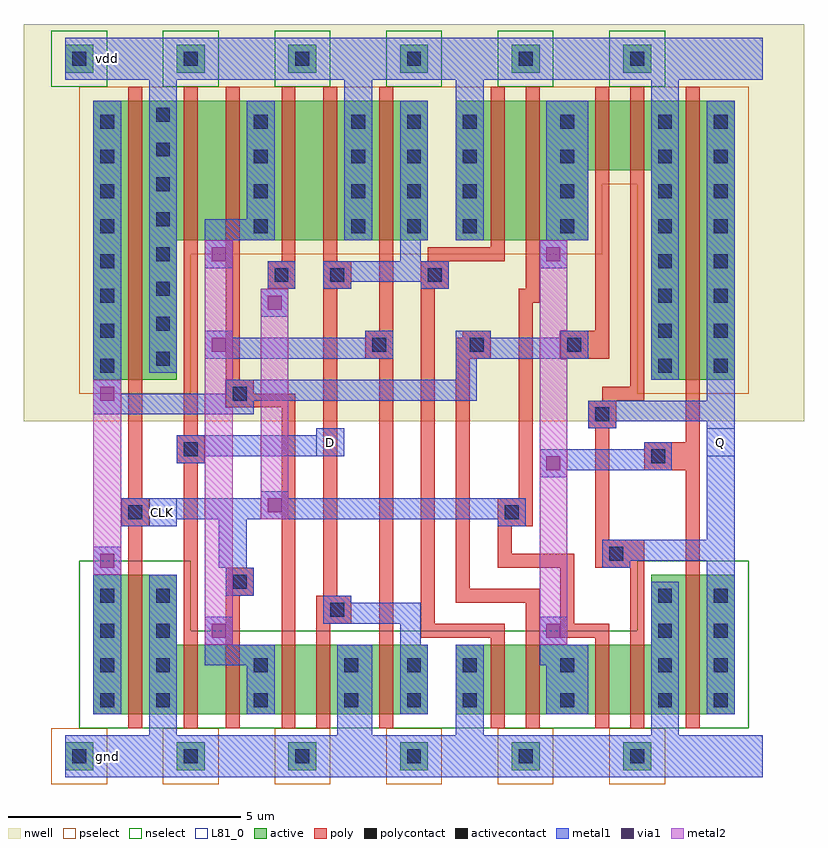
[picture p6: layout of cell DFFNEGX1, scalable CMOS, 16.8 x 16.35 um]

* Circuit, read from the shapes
.subckt DFFNEGX1 CLK D Q gnd vdd
M1 gnd CLK n1 gnd nfet w=3u l=0.3u
M2 n2 D gnd gnd nfet w=1.5u l=0.3u
M3 n3 CLK n2 gnd nfet w=1.5u l=0.3u
M4 n4 n1 n3 gnd nfet w=1.5u l=0.3u
M5 gnd n5 n4 gnd nfet w=1.5u l=0.3u
M6 n5 n3 gnd gnd nfet w=1.5u l=0.3u
M7 n6 n5 gnd gnd nfet w=1.5u l=0.3u
M8 n7 n1 n6 gnd nfet w=1.5u l=0.3u
M9 n8 CLK n7 gnd nfet w=1.5u l=0.3u
M10 gnd Q n8 gnd nfet w=1.5u l=0.3u
M11 Q n7 gnd gnd nfet w=3u l=0.3u
M12 vdd CLK n1 vdd pfet w=6u l=0.3u
M13 n9 D vdd vdd pfet w=3u l=0.3u
M14 n3 n1 n9 vdd pfet w=3u l=0.3u
M15 n10 CLK n3 vdd pfet w=3u l=0.3u
M16 vdd n5 n10 vdd pfet w=3u l=0.3u
M17 n5 n3 vdd vdd pfet w=3u l=0.3u
M18 n11 n5 vdd vdd pfet w=3u l=0.3u
M19 n7 CLK n11 vdd pfet w=3u l=0.3u
M20 n12 n1 n7 vdd pfet w=1.5u l=0.3u
M21 vdd Q n12 vdd pfet w=1.5u l=0.3u
M22 Q n7 vdd vdd pfet w=6u l=0.3u
.ends

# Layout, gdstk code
import gdstk
lib = gdstk.Library(unit=1e-6, precision=1e-09)
def R(c, l, rs):  # rectangles x0, y0, x1, y1
    for r in rs: c.add(gdstk.rectangle(r[:2], r[2:], *l))
def A(c, l, x, y, w, h, nx, ny, dx, dy):  # array of equal rectangles
    R(c, l, [(x+i*dx, y+j*dy, x+i*dx+w, y+j*dy+h) for i in range(nx) for j in range(ny)])
nwell = (42, 0)
active = (43, 0)
pselect = (44, 0)
nselect = (45, 0)
poly = (46, 0)
polycontact = (47, 0)
activecontact = (48, 0)
metal1 = (49, 0)
via1 = (50, 0)
metal2 = (51, 0)
L81_0 = (81, 0)

dffnegx1 = lib.new_cell('DFFNEGX1')
R(dffnegx1, nwell, [(-1.2,7.2,15.6,15.75)])
A(dffnegx1, active, -0.3, -0.3, 0.6, 0.6, 6, 2, 2.4, 15)
R(dffnegx1, active, [(0.3,0.9,7.5,2.4), (8.1,0.9,14.1,2.4), (0.3,2.4,2.1,3.9), (12.3,2.4,14.1,3.9), (0.3,8.1,2.1,11.1), (12.3,8.1,14.1,12.6), (0.3,11.1,7.5,14.1), (8.1,11.1,10.95,12.6), (8.1,12.6,14.1,14.1)])
A(dffnegx1, pselect, -0.6, -0.6, 1.2, 1.2, 6, 1, 2.4, 0)
R(dffnegx1, pselect, [(0,7.8,2.4,10.8), (12,7.8,14.4,12.3), (0,10.8,11.25,12.3), (0,12.3,14.4,14.4)])
A(dffnegx1, nselect, -0.6, 14.4, 1.2, 1.2, 6, 1, 2.4, 0)
R(dffnegx1, nselect, [(0,0.6,14.4,2.7), (0,2.7,2.4,4.2), (12,2.7,14.4,4.2)])
R(dffnegx1, poly, [(1.05,0.6,1.35,4.95), (2.25,0.6,2.55,6.3), (3.15,0.6,3.45,3.45), (4.35,0.6,4.65,7.5), (5.1,0.6,5.4,2.85), (6.45,0.6,6.75,8.55), (8.85,0.6,9.15,2.55), (9.6,0.6,9.9,3.3), (11.1,0.6,11.4,2.55), (11.85,0.6,12.15,4.05), (13.05,0.6,13.35,6.15), (7.35,2.55,9.15,2.85), (10.35,2.55,11.4,2.85), (5.1,2.85,5.85,3.45), (7.35,2.85,7.65,10.05), (10.35,2.85,10.65,4.05), (8.1,3.3,9.9,3.6), (3.15,3.45,3.75,4.05), (5.25,3.45,5.55,10.05), (8.1,3.6,8.4,8.55), (9,4.05,10.65,4.35), (11.1,4.05,12.15,4.65), (9,4.35,9.3,4.95), (11.1,4.65,11.4,7.05), (0.9,4.95,1.5,5.55), (9,4.95,9.75,5.55), (1.05,5.55,1.35,14.4), (9.45,5.55,9.75,9.75), (12.15,6.15,13.35,6.75), (2.1,6.3,2.7,6.9), (13.05,6.75,13.35,14.4), (2.25,6.9,2.55,14.4), (10.95,7.05,11.55,7.65), (3.15,7.5,4.65,7.8), (11.25,7.65,12.15,7.95), (3.15,7.8,3.75,8.1), (11.85,7.95,12.15,14.4), (3.15,8.1,3.45,14.4), (6.15,8.55,6.75,9.15), (8.1,8.55,8.85,9), (10.35,8.55,11.4,9.15), (8.25,9,8.85,9.15), (6.45,9.15,6.75,14.4), (11.1,9.15,11.4,14.4), (9.45,9.75,9.9,10.05), (4.05,10.05,4.65,10.65), (5.25,10.05,5.85,10.65), (7.35,10.05,7.95,10.65), (9.6,10.05,9.9,14.4), (4.35,10.65,4.65,14.4), (5.25,10.65,5.55,14.4), (7.5,10.65,9.15,10.95), (8.85,10.95,9.15,14.4)])
A(dffnegx1, polycontact, 6.3, 8.7, 0.3, 0.3, 3, 1, 2.1, 0)
R(dffnegx1, polycontact, [(5.4,3,5.7,3.3), (3.3,3.6,3.6,3.9), (11.4,4.2,11.7,4.5), (1.05,5.1,1.35,5.4), (9.15,5.1,9.45,5.4), (12.3,6.3,12.6,6.6), (2.25,6.45,2.55,6.75), (11.1,7.2,11.4,7.5), (3.3,7.65,3.6,7.95), (4.2,10.2,4.5,10.5), (5.4,10.2,5.7,10.5), (7.5,10.2,7.8,10.5)])
A(dffnegx1, activecontact, -0.15, -0.15, 0.3, 0.3, 6, 2, 2.4, 15)
A(dffnegx1, activecontact, 0.45, 1.05, 0.3, 0.3, 1, 4, 0, 0.75)
A(dffnegx1, activecontact, 1.65, 1.05, 0.3, 0.3, 1, 4, 0, 0.75)
A(dffnegx1, activecontact, 8.25, 1.05, 0.3, 0.3, 3, 2, 2.1, 0.75)
A(dffnegx1, activecontact, 13.65, 1.05, 0.3, 0.3, 1, 4, 0, 0.75)
A(dffnegx1, activecontact, 0.45, 8.25, 0.3, 0.3, 1, 8, 0, 0.75)
A(dffnegx1, activecontact, 12.45, 8.25, 0.3, 0.3, 1, 8, 0, 0.75)
A(dffnegx1, activecontact, 13.65, 8.25, 0.3, 0.3, 1, 8, 0, 0.75)
A(dffnegx1, activecontact, 1.65, 8.4, 0.3, 0.3, 1, 8, 0, 0.75)
A(dffnegx1, activecontact, 3.75, 11.25, 0.3, 0.3, 1, 4, 0, 0.75)
A(dffnegx1, activecontact, 5.85, 11.25, 0.3, 0.3, 3, 4, 1.2, 0.75)
A(dffnegx1, activecontact, 10.35, 11.25, 0.3, 0.3, 1, 4, 0, 0.75)
R(dffnegx1, activecontact, [(3.75,1.05,4.05,1.35), (5.7,1.05,6,1.35), (7.05,1.05,7.35,1.35), (3.75,1.8,4.05,2.1), (5.7,1.8,6,2.1), (7.05,1.8,7.35,2.1), (12.45,2.55,12.75,2.85), (12.45,3.3,12.75,3.6)])
R(dffnegx1, metal1, [(-0.3,-0.45,14.7,0.45), (1.5,0.45,2.1,3.9), (5.55,0.45,6.3,2.4), (8.1,0.45,8.7,2.4), (12.3,0.45,12.9,3.75), (0.3,0.9,0.9,4.5), (3.6,0.9,4.2,1.95), (6.9,0.9,7.5,2.4), (10.05,0.9,10.95,1.95), (13.5,0.9,14.1,4.2), (2.7,1.95,4.2,2.4), (9.9,1.95,10.95,2.4), (2.7,2.4,3.3,3), (6.9,2.4,7.35,2.85), (9.9,2.4,10.5,3), (5.25,2.85,7.35,3.3), (5.25,3.3,5.85,3.45), (3.15,3.45,3.75,4.05), (3,4.05,3.6,5.1), (11.25,4.05,11.85,4.2), (11.25,4.2,14.1,4.65), (13.5,4.65,14.1,7.2), (0.9,4.95,2.1,5.1), (9,4.95,9.6,5.1), (0.9,5.1,9.6,5.55), (3.9,5.55,4.5,5.7), (9.9,6,10.5,6.15), (9.9,6.15,12.75,6.6), (2.1,6.3,2.7,6.45), (2.1,6.45,5.7,6.9), (12.15,6.6,12.75,6.75), (5.1,6.9,5.7,7.05), (10.95,7.05,11.55,7.2), (10.95,7.2,14.1,7.65), (0.3,7.35,3.75,7.65), (0.3,7.65,8.55,7.8), (13.5,7.65,14.1,14.1), (0.3,7.8,0.9,14.1), (3.15,7.8,8.55,8.1), (8.1,8.1,8.55,8.55), (12.3,8.1,12.9,14.55), (1.5,8.25,2.1,14.55), (2.7,8.55,6.75,9), (8.1,8.55,10.95,9), (2.7,9,3.3,9.15), (6.15,9,6.75,9.15), (8.1,9,8.85,9.15), (10.35,9,10.95,9.15), (3.9,9.45,4.5,10.05), (4.05,10.05,4.65,10.65), (5.25,10.05,5.85,10.2), (7.35,10.05,7.95,10.2), (5.25,10.2,7.95,10.65), (2.7,10.5,3.3,11.1), (9.9,10.5,10.5,11.1), (6.9,10.65,7.35,11.1), (2.7,11.1,4.2,11.55), (5.7,11.1,6.3,14.55), (6.9,11.1,7.5,14.1), (8.1,11.1,8.7,14.55), (10.05,11.1,10.95,14.1), (3.6,11.55,4.2,14.1), (-0.3,14.55,14.7,15.45)])
R(dffnegx1, via1, [(2.85,2.55,3.15,2.85), (10.05,2.55,10.35,2.85), (0.45,4.05,0.75,4.35), (4.05,5.25,4.35,5.55), (10.05,6.15,10.35,6.45), (0.45,7.65,0.75,7.95), (2.85,8.7,3.15,9), (4.05,9.6,4.35,9.9), (2.85,10.65,3.15,10.95), (10.05,10.65,10.35,10.95)])
R(dffnegx1, metal2, [(2.7,2.4,3.3,7.5), (9.9,2.4,10.5,8.55), (0.3,3.9,0.9,8.1), (3.9,5.1,4.5,10.05), (2.7,7.5,3.15,8.1), (2.7,8.1,3.3,11.1), (9.9,8.55,10.35,9.15), (9.9,9.15,10.5,11.1)])
R(dffnegx1, L81_0, [(1.5,4.95,2.1,5.55), (5.1,6.45,5.7,7.05), (13.5,6.45,14.1,7.05)])
dffnegx1.add(gdstk.Label('CLK', (1.8,5.25), layer=109, texttype=0))
dffnegx1.add(gdstk.Label('vdd', (0.6,15), layer=109, texttype=0))
dffnegx1.add(gdstk.Label('D', (5.4,6.75), layer=109, texttype=0))
dffnegx1.add(gdstk.Label('gnd', (0.6,0), layer=109, texttype=0))
dffnegx1.add(gdstk.Label('Q', (13.8,6.75), layer=109, texttype=0))

lib.write_gds('DFFNEGX1.gds')
